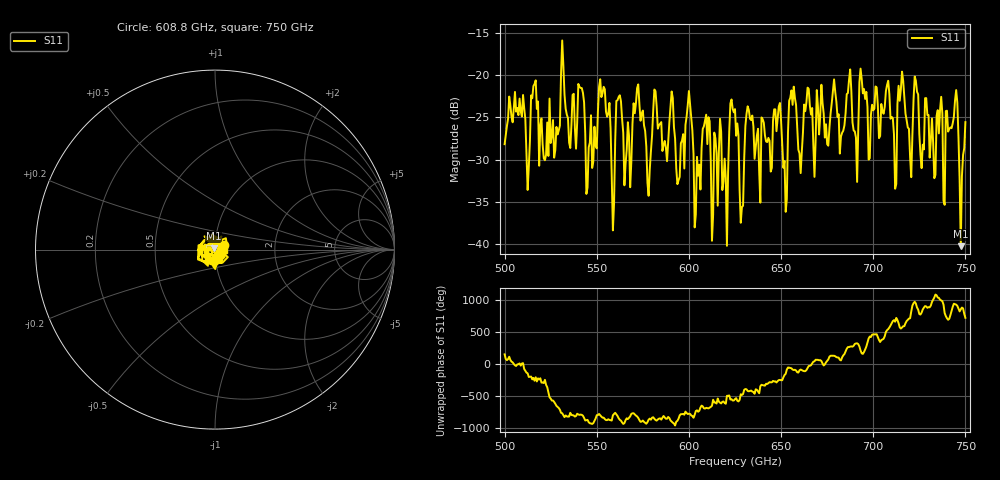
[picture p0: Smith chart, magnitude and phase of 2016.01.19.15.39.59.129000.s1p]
!Created with skrf (http://scikit-rf.org).
# GHz S RI R 50.0
!freq ReS11 ImS11
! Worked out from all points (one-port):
!   401 points, 500 GHz to 750 GHz, reference 50 ohm
!   lowest |S11| = -40.3 dB at 747.5 GHz (marker M1), VSWR 1.02, Z = 49.4 + j0.736 ohm
!   |S11| at or under -10 dB: start of sweep to end of sweep
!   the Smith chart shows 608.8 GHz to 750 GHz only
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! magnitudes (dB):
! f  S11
! 500 GHz  -28.2
! 515.6 GHz  -21.3
! 528.1 GHz  -26.1
! 531.2 GHz  -15.9
! 541.9 GHz  -21.5
! 545 GHz  -33.3
! 553.1 GHz  -22.1
! 558.8 GHz  -38.4
! 562.5 GHz  -22.4
! 578.1 GHz  -34.3
! 590.6 GHz  -21.9
! 593.8 GHz  -32.9
! 600 GHz  -21.9
! 603.8 GHz  -36.5
! 610 GHz  -28.2
! 619.4 GHz  -29.9
! 625 GHz  -24.0
! 628.8 GHz  -35.6
! 631.9 GHz  -23.7
! 648.1 GHz  -25.2
! 651.9 GHz  -30.2
! 656.2 GHz  -23.5
! 660.6 GHz  -31.6
! 687.5 GHz  -19.3
! 718.8 GHz  -26.2
! 744.4 GHz  -23.0
! 747.5 GHz  -40.3
! 750 GHz  -25.6
